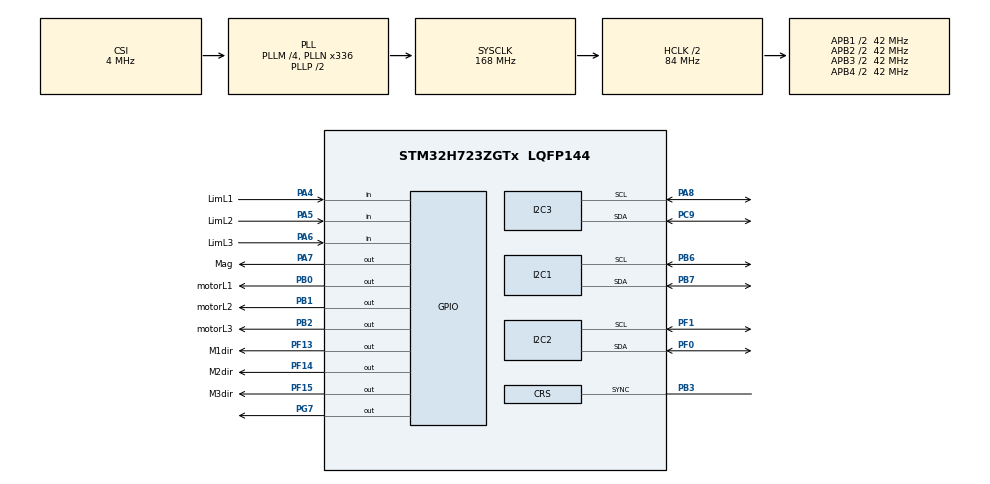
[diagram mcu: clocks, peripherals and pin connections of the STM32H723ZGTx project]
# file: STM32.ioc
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I2C1.Timing=0x00A0A3F7
I2C2.Timing=0x00A0A3F7
I2C3.Timing=0x00A0A3F7
Mcu.Family=STM32H7
Mcu.Name=STM32H723ZGTx
Mcu.Package=LQFP144
NVIC.PriorityGroup=NVIC_PRIORITYGROUP_4
NVIC.TIM2_IRQn=true\:0\:0\:false\:false\:true\:true\:true\:true
NVIC.TIM4_IRQn=true\:0\:0\:false\:false\:true\:true\:true\:true
PA4.GPIO_Label=LimL1
PA4.GPIO_PuPd=GPIO_PULLDOWN
PA4.Signal=GPIO_Input
PA5.GPIO_Label=LimL2
PA5.GPIO_PuPd=GPIO_PULLDOWN
PA5.Signal=GPIO_Input
PA6.GPIO_Label=LimL3
PA6.GPIO_PuPd=GPIO_PULLDOWN
PA6.Signal=GPIO_Input
PA7.GPIO_Label=Mag
PA7.PinState=GPIO_PIN_RESET
PA7.Signal=GPIO_Output
PA8.Mode=I2C
PA8.Signal=I2C3_SCL
PB0.GPIO_Label=motorL1
PB0.GPIO_Speed=GPIO_SPEED_FREQ_MEDIUM
PB0.PinState=GPIO_PIN_RESET
PB0.Signal=GPIO_Output
PB1.GPIO_Label=motorL2
PB1.GPIO_ModeDefaultOutputPP=GPIO_MODE_OUTPUT_PP
PB1.GPIO_Speed=GPIO_SPEED_FREQ_MEDIUM
PB1.PinState=GPIO_PIN_RESET
PB1.Signal=GPIO_Output
PB2.GPIO_Label=motorL3
PB2.GPIO_Speed=GPIO_SPEED_FREQ_VERY_HIGH
PB2.PinState=GPIO_PIN_RESET
PB2.Signal=GPIO_Output
PB3(JTDO/TRACESWO).Mode=CRS SYNC Source GPIO
PB3(JTDO/TRACESWO).Signal=CRS_SYNC
PB6.Mode=I2C
PB6.Signal=I2C1_SCL
PB7.Mode=I2C
PB7.Signal=I2C1_SDA
PC9.Mode=I2C
PC9.Signal=I2C3_SDA
PF0.Mode=I2C
PF0.Signal=I2C2_SDA
PF1.Mode=I2C
PF1.Signal=I2C2_SCL
PF13.GPIO_Label=M1dir
PF13.Signal=GPIO_Output
PF14.GPIO_Label=M2dir
PF14.Signal=GPIO_Output
PF15.GPIO_Label=M3dir
PF15.Signal=GPIO_Output
PG7.Signal=GPIO_Output
ProjectManager.HeapSize=0x200
ProjectManager.StackSize=0x400
ProjectManager.TargetToolchain=Makefile
RCC.ADCFreq_Value=8062500
RCC.APB1Freq_Value=42000000
RCC.APB2Freq_Value=42000000
RCC.APB3Freq_Value=42000000
RCC.APB4Freq_Value=42000000
RCC.CortexFreq_Value=84000000
RCC.D1CPRE=RCC_SYSCLK_DIV2
RCC.D1PPRE=RCC_APB3_DIV2
RCC.D2PPRE1=RCC_APB1_DIV2
RCC.D2PPRE2=RCC_APB2_DIV2
RCC.D3PPRE=RCC_APB4_DIV2
RCC.DIVM1=4
RCC.DIVN1=336
RCC.HCLKFreq_Value=84000000
RCC.HSE_VALUE=8000000
RCC.PLL2FRACN=0
RCC.PLL3FRACN=0
RCC.PLLFRACN=0
RCC.PLLSourceVirtual=RCC_PLLSOURCE_CSI
RCC.SYSCLKFreq_VALUE=168000000
RCC.SYSCLKSource=RCC_SYSCLKSOURCE_PLLCLK
RCC.USBFreq_Value=168000000
TIM2.Period=1
TIM2.Prescaler=42000
TIM4.Period=4
TIM4.Prescaler=840
VP_TIM2_VS_ClockSourceINT.Mode=Internal
VP_TIM4_VS_ClockSourceINT.Mode=Internal
board=custom

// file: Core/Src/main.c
/* USER CODE BEGIN Header */
/**
  ******************************************************************************
  * @file           : main.c
  * @brief          : Main program body
  ******************************************************************************
  * @attention
  *
  * Copyright (c) 2024 STMicroelectronics.
  * All rights reserved.
  *
  * This software is licensed under terms that can be found in the LICENSE file
  * in the root directory of this software component.
  * If no LICENSE file comes with this software, it is provided AS-IS.
  *
  ******************************************************************************
  */
/* USER CODE END Header */
#include "main.h"

/* USER CODE BEGIN Includes */
#include "as5600.h"
#include <stdlib.h>

/* USER CODE END Includes */

/* USER CODE BEGIN PD */
#define BASE_INTERRUPT_PERIOD_MICROS 50
#define FASTEST_PERIOD_MICROS 200  // Fastest pulse period = 250 microseconds
#define HOMING_PULSE_LIMIT  50000

/* USER CODE END PD */

/* USER CODE BEGIN PM */
AS5600_TypeDef *angleL1;
AS5600_TypeDef *angleL2;
AS5600_TypeDef *angleL3;
/* USER CODE END PM */

I2C_HandleTypeDef hi2c1;
I2C_HandleTypeDef hi2c2;
I2C_HandleTypeDef hi2c3;

TIM_HandleTypeDef htim2;
TIM_HandleTypeDef htim4;

/* USER CODE BEGIN PV */
float angle1, angle2, angle3 = 0;
int angle11, angle21, angle31 = 0;
int HOME = 0;

// Define counters for each motor
int countPulseL1 = 0;
int countPulseL2 = 0;
int countPulseL3 = 0;

int a,b,c = 0;
float d = 0;
float e = 0, f = 0,g = 0;
int dir1, dir2, dir3 = 1;
float a3Ratio = 0;
// Soft counters and periods
int softCounter1 = 0;
int softCounter2 = 0;
int softCounter3 = 0;

int periodMotor1 = 0;
int periodMotor2 = 0;
int periodMotor3 = 0;

float target_angle_1 = 0;
float target_angle_2 = 0;
float target_angle_3 = 0;
float target_angle_1_temp = 1;
float target_angle_2_temp = 1;
float target_angle_3_temp = 1;

int steps_motor_1 = 0;
int steps_motor_2 = 0;
int steps_motor_3 = 0;

/* USER CODE END PV */

void SystemClock_Config(void);
static void MX_GPIO_Init(void);
static void MX_TIM2_Init(void);
static void MX_I2C1_Init(void);
static void MX_I2C2_Init(void);
static void MX_I2C3_Init(void);
static void MX_TIM4_Init(void);
/* USER CODE BEGIN PFP */
void pulseCreater(void);
void angleControl(float target_angle_1, float target_angle_2, float target_angle_3);
void update_current_angle(int motor_index, float steps,int direction);
void checkLimitSwitches(void) ;
void setHomeAngles();
/* USER CODE END PFP */

/* USER CODE BEGIN 0 */
//----------------------Ngat Sensor----------------------//
void HAL_TIM_PeriodElapsedCallback(TIM_HandleTypeDef *htim)
{

	//------------
	if (htim->Instance==htim2.Instance)
	{

		if (HOME == 1){
			g+=1;

		if(g > 21000){
			target_angle_1 = -45;
			target_angle_2 = -45;
			target_angle_3 = 0;
		}else if(g > 16000){
			target_angle_1 = 0;
			target_angle_2 = -45;
			target_angle_3 = -45;
		}
		else if(g > 12000){
			target_angle_1 = 0;
			target_angle_2 = -45;
			target_angle_3 = -45;
		}else if (g > 5000){
			target_angle_1 = 0;
			target_angle_2 = -45;
			target_angle_3 = 0;
		}else{
			target_angle_1 = 0;
			target_angle_2 = -45;
			target_angle_3 = -45;
		}

			if ((target_angle_1 != target_angle_1_temp)||(target_angle_2 != target_angle_2_temp)||(target_angle_3 != target_angle_3_temp)){

				target_angle_1_temp = target_angle_1;
				target_angle_2_temp = target_angle_2;
				target_angle_3_temp = target_angle_3;

				a3Ratio = fabs((target_angle_3 - angle3)/((target_angle_2 - angle2) + (target_angle_3 - angle3)));

				angleControl(target_angle_1,target_angle_2,target_angle_3);
			}
		}
	}

	if (htim->Instance == TIM4)
	{  // Ensure the correct timer is being checked
		// Handle Motor 1
		if (countPulseL1 > 0) {
			softCounter1++;  // Increment soft counter for motor 1
			if (softCounter1 >= periodMotor1) {  // If soft counter reaches the desired period
				HAL_GPIO_TogglePin(GPIOB, motorL1_Pin);  // Toggle Motor 1 pin (generate pulse)
				softCounter1 = 0;  // Reset the soft counter for motor 1
				countPulseL1--;    // Decrement the pulse count
				//e = 360/(44800*2);
				update_current_angle(1,1,dir1);
			}
		} else {
			HAL_GPIO_WritePin(GPIOB, motorL1_Pin, GPIO_PIN_RESET);  // Stop Motor 1
		}

		// Handle Motor 2
		if (countPulseL2 > 0) {
			softCounter2++;  // Increment soft counter for motor 2
			if (softCounter2 >= periodMotor2) {  // If soft counter reaches the desired period
				HAL_GPIO_TogglePin(GPIOB, motorL2_Pin);  // Toggle Motor 2 pin (generate pulse)
				softCounter2 = 0;  // Reset the soft counter for motor 2
				countPulseL2--;    // Decrement the pulse count
				update_current_angle(2,1,dir2);
			}
		} else {
			HAL_GPIO_WritePin(GPIOB, motorL2_Pin, GPIO_PIN_RESET);  // Stop Motor 2
		}

		// Handle Motor 3
		if (countPulseL3 > 0) {
			softCounter3++;  // Increment soft counter for motor 3
			if (softCounter3 >= periodMotor3) {  // If soft counter reaches the desired period
				HAL_GPIO_TogglePin(GPIOB, motorL3_Pin);  // Toggle Motor 3 pin (generate pulse)
				softCounter3 = 0;  // Reset the soft counter for motor 3
				countPulseL3--;    // Decrement the pulse count
				update_current_angle(3,a3Ratio, dir3);

			}
		} else {
			HAL_GPIO_WritePin(GPIOB, motorL3_Pin, GPIO_PIN_RESET);  // Stop Motor 3
		}
	}
}
//----------------------Pulse Creater--------------------//

void Mag_Control(int state)
{
	HAL_GPIO_WritePin(Mag_GPIO_Port, Mag_Pin, state);
}

void Read_Angles(void)
{
    // Read raw angle from angleL1 sensor
    AS5600_GetRawAngle(angleL1, &angle1);

    // Read raw angle from angleL2 sensor
    AS5600_GetRawAngle(angleL2, &angle2);

    // Read raw angle from angleL3 sensor
    AS5600_GetRawAngle(angleL3, &angle3);

}

void update_current_angle(int motor_index, float steps, int direction) {
    float angle_change = steps * 360.0 / (44800.0 * 2); // Calculate the change in angle

    // If direction is negative, reverse the angle change
    if (direction < 0) {
        angle_change = - angle_change;
    }

    switch (motor_index){
        case 1:
            angle1 += angle_change; // Update current angle for motor 1
            break;
        case 2:
            angle2 += angle_change; // Update current angle for motor 2
            break;
        case 3:
            angle3 += angle_change; // Update current angle for motor 3
            break;
    }
}

int calculate_steps(float current_angle, float target_angle)
{
    // Calculate the angular difference

    float angular_difference ;
    int temp;

    temp = target_angle - current_angle;
	if (abs(temp) < 0.01){
		angular_difference = 0;
	}else{
		angular_difference = target_angle - current_angle;
	}

    // Convert angular difference to steps
    int steps_needed = (int)((angular_difference / 360) * 44800*2);

    // Return the absolute number of steps (stepper motors can't move negative steps)
    return steps_needed;
}

int maxSteps(int steps_motor_1, int steps_motor_2, int steps_motor_3)
{
    int max_value = steps_motor_1;  // Assume motor 1 has the maximum steps

    if (steps_motor_2 > max_value) {
        max_value = steps_motor_2;  // Update if motor 2 has more steps
    }

    if (steps_motor_3 > max_value) {
        max_value = steps_motor_3;  // Update if motor 3 has more steps
    }

    return max_value;  // Return the largest number of steps
}

void angleControl(float target_angle_1, float target_angle_2, float target_angle_3) {
	// Read the current angles from the sensors
	//Read_Angles();

	// Calculate the required steps for each motor based on current and target angles
	int steps_motor_1 = calculate_steps(angle1, (target_angle_1));
	int steps_motor_2 = calculate_steps(angle2, (target_angle_2));

	int steps_motor_3 = calculate_steps(angle3, target_angle_3 + target_angle_2);

	// Set the pulse counts for each motor
	countPulseL1 = abs(steps_motor_1);
	countPulseL2 = abs(steps_motor_2);
	countPulseL3 = abs(steps_motor_3);

	// Determine the direction for each motor and set control pins accordingly
	if (target_angle_1 > angle1) {
		// Move motor 1 clockwise
		dir1 = 1;
		HAL_GPIO_WritePin(GPIOF, M1dir_Pin, GPIO_PIN_SET);

	} else {
		dir1 = -1;
		// Move motor 1 counterclockwise
		HAL_GPIO_WritePin(GPIOF, M1dir_Pin, GPIO_PIN_RESET);
	}

	if (target_angle_2 > angle2) {
		// Move motor 2 clockwise
		dir2 = 1;
		HAL_GPIO_WritePin(GPIOF, M2dir_Pin, GPIO_PIN_SET);
	} else {
		// Move motor 2 counterclockwise
		dir2 = -1;
		HAL_GPIO_WritePin(GPIOF, M2dir_Pin, GPIO_PIN_RESET);
	}

	if (target_angle_3 > angle3) {
		// Move motor 3 clockwise
		dir3 = 1;
		//HAL_GPIO_WritePin(GPIOF, M3dir_Pin, GPIO_PIN_RESET);
	} else {
		// Move motor 3 counterclockwise
		dir3 = -1;
		//HAL_GPIO_WritePin(GPIOF, M3dir_Pin, GPIO_PIN_SET);
	}

	if (dir3 != dir2){
		if (abs(target_angle_3  - angle3) <= abs(target_angle_2  - angle2))
		{
			HAL_GPIO_WritePin(GPIOF, M3dir_Pin, GPIO_PIN_SET);
		}else{
			HAL_GPIO_WritePin(GPIOF, M3dir_Pin, GPIO_PIN_RESET);
			//countPulseL3 = abs(steps_motor_3) + countPulseL2;
		}
	}else{

		if (dir2 < 0){
			countPulseL3 = abs(steps_motor_3);
			steps_motor_3 = countPulseL3;
			HAL_GPIO_WritePin(GPIOF, M3dir_Pin, GPIO_PIN_SET);

		}else{
			countPulseL3 = abs(steps_motor_3 + steps_motor_2);
			steps_motor_3 = countPulseL3;
			HAL_GPIO_WritePin(GPIOF, M3dir_Pin, GPIO_PIN_RESET);
		}

	}

	// Determine the maximum steps needed to synchronize the motors
	int max_steps = maxSteps(abs(steps_motor_1), abs(steps_motor_2), abs(steps_motor_3));

	// Calculate the pulse periods for each motor based on the maximum steps
	periodMotor1 = (int)(((float)max_steps / abs(steps_motor_1)) * (FASTEST_PERIOD_MICROS / BASE_INTERRUPT_PERIOD_MICROS));
	periodMotor2 = (int)(((float)max_steps / abs(steps_motor_2)) * (FASTEST_PERIOD_MICROS / BASE_INTERRUPT_PERIOD_MICROS));
	periodMotor3 = (int)(((float)max_steps / abs(steps_motor_3)) * (FASTEST_PERIOD_MICROS / BASE_INTERRUPT_PERIOD_MICROS));

	// Start the timer if it is not already running (ensure the timer has been initialized)
	//HAL_TIM_Base_Start_IT(&htim4);
}

void autoHomeMotors(void) {
    // Set initial movement direction for homing (assumes motors move towards the limit switches)
    HAL_GPIO_WritePin(GPIOF, M1dir_Pin, GPIO_PIN_RESET); // Move Motor 1 in the homing direction
    HAL_GPIO_WritePin(GPIOF, M2dir_Pin, GPIO_PIN_SET); // Move Motor 2 in the homing direction
    HAL_GPIO_WritePin(GPIOF, M3dir_Pin, GPIO_PIN_SET); // Move Motor 3 in the homing direction

    // Start moving the motors
    countPulseL1 = HOMING_PULSE_LIMIT;  // Arbitrary large value for homing
    countPulseL2 = HOMING_PULSE_LIMIT;  // Arbitrary large value for homing
    countPulseL3 = HOMING_PULSE_LIMIT;  // Arbitrary large value for homing

    periodMotor1 = 4;
	periodMotor2 = 4;
	periodMotor3 = 4;

    // Wait until all limit switches are triggered
    while (a == 0 || b == 0 || c == 0) {
        checkLimitSwitches(); // Continuously check the limit switches
    }

    // Set the home angle once all limit switches are activated
    HOME = 1;
    setHomeAngles();
}

void setHomeAngles(void) {
    // Set the current angle to zero or a specific home angle as needed
    angle1 = 0.0; // Home position for Motor 1
    angle2 = 0.0; // Home position for Motor 2
    angle3 = -68.0; // Home position for Motor 3

}

void checkLimitSwitches(void) {
    // Check and handle limit switch 1
    if (HAL_GPIO_ReadPin(GPIOA, GPIO_PIN_5) == GPIO_PIN_SET) {
        a = 1;
        countPulseL1 = 0;  // Stop Motor 1 if limit switch 1 is triggered
    } else {
        a = 0;
    }

    // Check and handle limit switch 2, ensuring that it only works if limit switch 3 is not active
    if (HAL_GPIO_ReadPin(GPIOA, GPIO_PIN_4) == GPIO_PIN_SET) {
        b = 1;
        countPulseL2 = 0;  // Stop Motor 2 if limit switch 2 is triggered
    } else {
        b = 0;
    }

    // Check and handle limit switch 3
    if (HAL_GPIO_ReadPin(GPIOA, GPIO_PIN_6) == GPIO_PIN_SET) {
        c = 1;
        countPulseL3 = countPulseL2;  // Stop Motor 3 if limit switch 3 is triggered
        HAL_GPIO_WritePin(GPIOF, M3dir_Pin, GPIO_PIN_RESET);  // Stop motor direction for M3
    } else {
        c = 0;
        HAL_GPIO_WritePin(GPIOF, M3dir_Pin, GPIO_PIN_SET);  // Set motor direction for M3
    }
}

/* USER CODE END 0 */

int main(void)
{

  /* MCU Configuration--------------------------------------------------------*/

  /* Reset of all peripherals, Initializes the Flash interface and the Systick. */
  HAL_Init();

  /* USER CODE BEGIN Init */
//	angleL1 = AS5600_New();
//	angleL1->i2cHandle= &hi2c1;
//	AS5600_Init(angleL1);
//
//	angleL2 = AS5600_New();
//	angleL2->i2cHandle= &hi2c2;
//	AS5600_Init(angleL2);
//
//	angleL3 = AS5600_New();
//	angleL3->i2cHandle= &hi2c3;
//	AS5600_Init(angleL3);
  /* USER CODE END Init */

  /* Configure the system clock */
  SystemClock_Config();

  /* Initialize all configured peripherals */
  MX_GPIO_Init();
  MX_TIM2_Init();
  MX_I2C1_Init();
  MX_I2C2_Init();
  MX_I2C3_Init();
  MX_TIM4_Init();
  /* USER CODE BEGIN 2 */
  HAL_TIM_Base_Start_IT(&htim2);
  HAL_TIM_Base_Start_IT(&htim4);
  autoHomeMotors();

//
//

  /* USER CODE END 2 */

  /* Infinite loop */
  while (1)
  {

    /* USER CODE BEGIN 3 */

	  //calc_angle_3();
	  //angleControl(angle1,angle2, angle3);

	    // Stop Motor 3
	  //checkLimitSwitches();
	 // HAL_GPIO_WritePin(GPIOB, motorL3_Pin, GPIO_PIN_RESET);  // Stop Motor 3
//	  HAL_GPIO_WritePin(GPIOF, GPIO_PIN_14, GPIO_PIN_SET);
//	  HAL_Delay(0.1);
//	  HAL_GPIO_WritePin(GPIOF, GPIO_PIN_14, GPIO_PIN_RESET);
//	  HAL_Delay(0.1);
  }
  /* USER CODE END 3 */
}

void SystemClock_Config(void)
{
  RCC_OscInitTypeDef RCC_OscInitStruct = {0};
  RCC_ClkInitTypeDef RCC_ClkInitStruct = {0};
  RCC_CRSInitTypeDef RCC_CRSInitStruct = {0};

  /** Supply configuration update enable
  */
  HAL_PWREx_ConfigSupply(PWR_LDO_SUPPLY);

  /** Configure the main internal regulator output voltage
  */
  __HAL_PWR_VOLTAGESCALING_CONFIG(PWR_REGULATOR_VOLTAGE_SCALE3);

  while(!__HAL_PWR_GET_FLAG(PWR_FLAG_VOSRDY)) {}

  /** Initializes the RCC Oscillators according to the specified parameters
  * in the RCC_OscInitTypeDef structure.
  */
  RCC_OscInitStruct.OscillatorType = RCC_OSCILLATORTYPE_HSI48|RCC_OSCILLATORTYPE_CSI;
  RCC_OscInitStruct.HSI48State = RCC_HSI48_ON;
  RCC_OscInitStruct.CSIState = RCC_CSI_ON;
  RCC_OscInitStruct.CSICalibrationValue = 16;
  RCC_OscInitStruct.PLL.PLLState = RCC_PLL_ON;
  RCC_OscInitStruct.PLL.PLLSource = RCC_PLLSOURCE_CSI;
  RCC_OscInitStruct.PLL.PLLM = 4;
  RCC_OscInitStruct.PLL.PLLN = 336;
  RCC_OscInitStruct.PLL.PLLP = 2;
  RCC_OscInitStruct.PLL.PLLQ = 2;
  RCC_OscInitStruct.PLL.PLLR = 2;
  RCC_OscInitStruct.PLL.PLLRGE = RCC_PLL1VCIRANGE_0;
  RCC_OscInitStruct.PLL.PLLVCOSEL = RCC_PLL1VCOMEDIUM;
  RCC_OscInitStruct.PLL.PLLFRACN = 0;
  if (HAL_RCC_OscConfig(&RCC_OscInitStruct) != HAL_OK)
  {
    Error_Handler();
  }

  /** Initializes the CPU, AHB and APB buses clocks
  */
  RCC_ClkInitStruct.ClockType = RCC_CLOCKTYPE_HCLK|RCC_CLOCKTYPE_SYSCLK
                              |RCC_CLOCKTYPE_PCLK1|RCC_CLOCKTYPE_PCLK2
                              |RCC_CLOCKTYPE_D3PCLK1|RCC_CLOCKTYPE_D1PCLK1;
  RCC_ClkInitStruct.SYSCLKSource = RCC_SYSCLKSOURCE_PLLCLK;
  RCC_ClkInitStruct.SYSCLKDivider = RCC_SYSCLK_DIV2;
  RCC_ClkInitStruct.AHBCLKDivider = RCC_HCLK_DIV1;
  RCC_ClkInitStruct.APB3CLKDivider = RCC_APB3_DIV2;
  RCC_ClkInitStruct.APB1CLKDivider = RCC_APB1_DIV2;
  RCC_ClkInitStruct.APB2CLKDivider = RCC_APB2_DIV2;
  RCC_ClkInitStruct.APB4CLKDivider = RCC_APB4_DIV2;

  if (HAL_RCC_ClockConfig(&RCC_ClkInitStruct, FLASH_LATENCY_2) != HAL_OK)
  {
    Error_Handler();
  }

  /** Enable the SYSCFG APB clock
  */
  __HAL_RCC_CRS_CLK_ENABLE();

  /** Configures CRS
  */
  RCC_CRSInitStruct.Prescaler = RCC_CRS_SYNC_DIV1;
  RCC_CRSInitStruct.Source = RCC_CRS_SYNC_SOURCE_USB1;
  RCC_CRSInitStruct.Polarity = RCC_CRS_SYNC_POLARITY_RISING;
  RCC_CRSInitStruct.ReloadValue = __HAL_RCC_CRS_RELOADVALUE_CALCULATE(48000000,1);
  RCC_CRSInitStruct.ErrorLimitValue = 34;
  RCC_CRSInitStruct.HSI48CalibrationValue = 32;

  HAL_RCCEx_CRSConfig(&RCC_CRSInitStruct);
}

static void MX_I2C1_Init(void)
{

  hi2c1.Instance = I2C1;
  hi2c1.Init.Timing = 0x00A0A3F7;
  hi2c1.Init.OwnAddress1 = 0;
  hi2c1.Init.AddressingMode = I2C_ADDRESSINGMODE_7BIT;
  hi2c1.Init.DualAddressMode = I2C_DUALADDRESS_DISABLE;
  hi2c1.Init.OwnAddress2 = 0;
  hi2c1.Init.OwnAddress2Masks = I2C_OA2_NOMASK;
  hi2c1.Init.GeneralCallMode = I2C_GENERALCALL_DISABLE;
  hi2c1.Init.NoStretchMode = I2C_NOSTRETCH_DISABLE;
  if (HAL_I2C_Init(&hi2c1) != HAL_OK)
  {
    Error_Handler();
  }

  /** Configure Analogue filter
  */
  if (HAL_I2CEx_ConfigAnalogFilter(&hi2c1, I2C_ANALOGFILTER_ENABLE) != HAL_OK)
  {
    Error_Handler();
  }

  /** Configure Digital filter
  */
  if (HAL_I2CEx_ConfigDigitalFilter(&hi2c1, 0) != HAL_OK)
  {
    Error_Handler();
  }

}

static void MX_I2C2_Init(void)
{

  hi2c2.Instance = I2C2;
  hi2c2.Init.Timing = 0x00A0A3F7;
  hi2c2.Init.OwnAddress1 = 0;
  hi2c2.Init.AddressingMode = I2C_ADDRESSINGMODE_7BIT;
  hi2c2.Init.DualAddressMode = I2C_DUALADDRESS_DISABLE;
  hi2c2.Init.OwnAddress2 = 0;
  hi2c2.Init.OwnAddress2Masks = I2C_OA2_NOMASK;
  hi2c2.Init.GeneralCallMode = I2C_GENERALCALL_DISABLE;
  hi2c2.Init.NoStretchMode = I2C_NOSTRETCH_DISABLE;
  if (HAL_I2C_Init(&hi2c2) != HAL_OK)
  {
    Error_Handler();
  }

  /** Configure Analogue filter
  */
  if (HAL_I2CEx_ConfigAnalogFilter(&hi2c2, I2C_ANALOGFILTER_ENABLE) != HAL_OK)
  {
    Error_Handler();
  }

  /** Configure Digital filter
  */
  if (HAL_I2CEx_ConfigDigitalFilter(&hi2c2, 0) != HAL_OK)
  {
    Error_Handler();
  }

}

static void MX_I2C3_Init(void)
{

  hi2c3.Instance = I2C3;
  hi2c3.Init.Timing = 0x00A0A3F7;
  hi2c3.Init.OwnAddress1 = 0;
  hi2c3.Init.AddressingMode = I2C_ADDRESSINGMODE_7BIT;
  hi2c3.Init.DualAddressMode = I2C_DUALADDRESS_DISABLE;
  hi2c3.Init.OwnAddress2 = 0;
  hi2c3.Init.OwnAddress2Masks = I2C_OA2_NOMASK;
  hi2c3.Init.GeneralCallMode = I2C_GENERALCALL_DISABLE;
  hi2c3.Init.NoStretchMode = I2C_NOSTRETCH_DISABLE;
  if (HAL_I2C_Init(&hi2c3) != HAL_OK)
  {
    Error_Handler();
  }

  /** Configure Analogue filter
  */
  if (HAL_I2CEx_ConfigAnalogFilter(&hi2c3, I2C_ANALOGFILTER_ENABLE) != HAL_OK)
  {
    Error_Handler();
  }

  /** Configure Digital filter
  */
  if (HAL_I2CEx_ConfigDigitalFilter(&hi2c3, 0) != HAL_OK)
  {
    Error_Handler();
  }

}

static void MX_TIM2_Init(void)
{

  TIM_ClockConfigTypeDef sClockSourceConfig = {0};
  TIM_MasterConfigTypeDef sMasterConfig = {0};

  htim2.Instance = TIM2;
  htim2.Init.Prescaler = 42000;
  htim2.Init.CounterMode = TIM_COUNTERMODE_UP;
  htim2.Init.Period = 1;
  htim2.Init.ClockDivision = TIM_CLOCKDIVISION_DIV1;
  htim2.Init.AutoReloadPreload = TIM_AUTORELOAD_PRELOAD_DISABLE;
  if (HAL_TIM_Base_Init(&htim2) != HAL_OK)
  {
    Error_Handler();
  }
  sClockSourceConfig.ClockSource = TIM_CLOCKSOURCE_INTERNAL;
  if (HAL_TIM_ConfigClockSource(&htim2, &sClockSourceConfig) != HAL_OK)
  {
    Error_Handler();
  }
  sMasterConfig.MasterOutputTrigger = TIM_TRGO_RESET;
  sMasterConfig.MasterSlaveMode = TIM_MASTERSLAVEMODE_DISABLE;
  if (HAL_TIMEx_MasterConfigSynchronization(&htim2, &sMasterConfig) != HAL_OK)
  {
    Error_Handler();
  }

}

static void MX_TIM4_Init(void)
{

  TIM_ClockConfigTypeDef sClockSourceConfig = {0};
  TIM_MasterConfigTypeDef sMasterConfig = {0};

  htim4.Instance = TIM4;
  htim4.Init.Prescaler = 840;
  htim4.Init.CounterMode = TIM_COUNTERMODE_UP;
  htim4.Init.Period = 4;
  htim4.Init.ClockDivision = TIM_CLOCKDIVISION_DIV1;
  htim4.Init.AutoReloadPreload = TIM_AUTORELOAD_PRELOAD_DISABLE;
  if (HAL_TIM_Base_Init(&htim4) != HAL_OK)
  {
    Error_Handler();
  }
  sClockSourceConfig.ClockSource = TIM_CLOCKSOURCE_INTERNAL;
  if (HAL_TIM_ConfigClockSource(&htim4, &sClockSourceConfig) != HAL_OK)
  {
    Error_Handler();
  }
  sMasterConfig.MasterOutputTrigger = TIM_TRGO_RESET;
  sMasterConfig.MasterSlaveMode = TIM_MASTERSLAVEMODE_DISABLE;
  if (HAL_TIMEx_MasterConfigSynchronization(&htim4, &sMasterConfig) != HAL_OK)
  {
    Error_Handler();
  }

}

static void MX_GPIO_Init(void)
{
  GPIO_InitTypeDef GPIO_InitStruct = {0};

  /* GPIO Ports Clock Enable */
  __HAL_RCC_GPIOF_CLK_ENABLE();
  __HAL_RCC_GPIOA_CLK_ENABLE();
  __HAL_RCC_GPIOB_CLK_ENABLE();
  __HAL_RCC_GPIOG_CLK_ENABLE();
  __HAL_RCC_GPIOC_CLK_ENABLE();

  /*Configure GPIO pin Output Level */
  HAL_GPIO_WritePin(Mag_GPIO_Port, Mag_Pin, GPIO_PIN_RESET);

  /*Configure GPIO pin Output Level */
  HAL_GPIO_WritePin(GPIOB, motorL1_Pin|motorL2_Pin|motorL3_Pin, GPIO_PIN_RESET);

  /*Configure GPIO pin Output Level */
  HAL_GPIO_WritePin(GPIOF, M1dir_Pin|M2dir_Pin|M3dir_Pin, GPIO_PIN_RESET);

  /*Configure GPIO pin Output Level */
  HAL_GPIO_WritePin(GPIOG, GPIO_PIN_7, GPIO_PIN_RESET);

  /*Configure GPIO pins : LimL1_Pin LimL2_Pin LimL3_Pin */
  GPIO_InitStruct.Pin = LimL1_Pin|LimL2_Pin|LimL3_Pin;
  GPIO_InitStruct.Mode = GPIO_MODE_INPUT;
  GPIO_InitStruct.Pull = GPIO_PULLDOWN;
  HAL_GPIO_Init(GPIOA, &GPIO_InitStruct);

  /*Configure GPIO pin : Mag_Pin */
  GPIO_InitStruct.Pin = Mag_Pin;
  GPIO_InitStruct.Mode = GPIO_MODE_OUTPUT_PP;
  GPIO_InitStruct.Pull = GPIO_NOPULL;
  GPIO_InitStruct.Speed = GPIO_SPEED_FREQ_LOW;
  HAL_GPIO_Init(Mag_GPIO_Port, &GPIO_InitStruct);

  /*Configure GPIO pins : motorL1_Pin motorL2_Pin */
  GPIO_InitStruct.Pin = motorL1_Pin|motorL2_Pin;
  GPIO_InitStruct.Mode = GPIO_MODE_OUTPUT_PP;
  GPIO_InitStruct.Pull = GPIO_NOPULL;
  GPIO_InitStruct.Speed = GPIO_SPEED_FREQ_MEDIUM;
  HAL_GPIO_Init(GPIOB, &GPIO_InitStruct);

  /*Configure GPIO pin : motorL3_Pin */
  GPIO_InitStruct.Pin = motorL3_Pin;
  GPIO_InitStruct.Mode = GPIO_MODE_OUTPUT_PP;
  GPIO_InitStruct.Pull = GPIO_NOPULL;
  GPIO_InitStruct.Speed = GPIO_SPEED_FREQ_VERY_HIGH;
  HAL_GPIO_Init(motorL3_GPIO_Port, &GPIO_InitStruct);

  /*Configure GPIO pins : M1dir_Pin M2dir_Pin M3dir_Pin */
  GPIO_InitStruct.Pin = M1dir_Pin|M2dir_Pin|M3dir_Pin;
  GPIO_InitStruct.Mode = GPIO_MODE_OUTPUT_PP;
  GPIO_InitStruct.Pull = GPIO_NOPULL;
  GPIO_InitStruct.Speed = GPIO_SPEED_FREQ_LOW;
  HAL_GPIO_Init(GPIOF, &GPIO_InitStruct);

  /*Configure GPIO pin : PG7 */
  GPIO_InitStruct.Pin = GPIO_PIN_7;
  GPIO_InitStruct.Mode = GPIO_MODE_OUTPUT_PP;
  GPIO_InitStruct.Pull = GPIO_NOPULL;
  GPIO_InitStruct.Speed = GPIO_SPEED_FREQ_LOW;
  HAL_GPIO_Init(GPIOG, &GPIO_InitStruct);

  /*Configure GPIO pin : PB3 */
  GPIO_InitStruct.Pin = GPIO_PIN_3;
  GPIO_InitStruct.Mode = GPIO_MODE_AF_PP;
  GPIO_InitStruct.Pull = GPIO_NOPULL;
  GPIO_InitStruct.Speed = GPIO_SPEED_FREQ_LOW;
  GPIO_InitStruct.Alternate = GPIO_AF10_CRS_SYNC;
  HAL_GPIO_Init(GPIOB, &GPIO_InitStruct);

}

void Error_Handler(void)
{
  __disable_irq();
  while (1)
  {
  }
}
